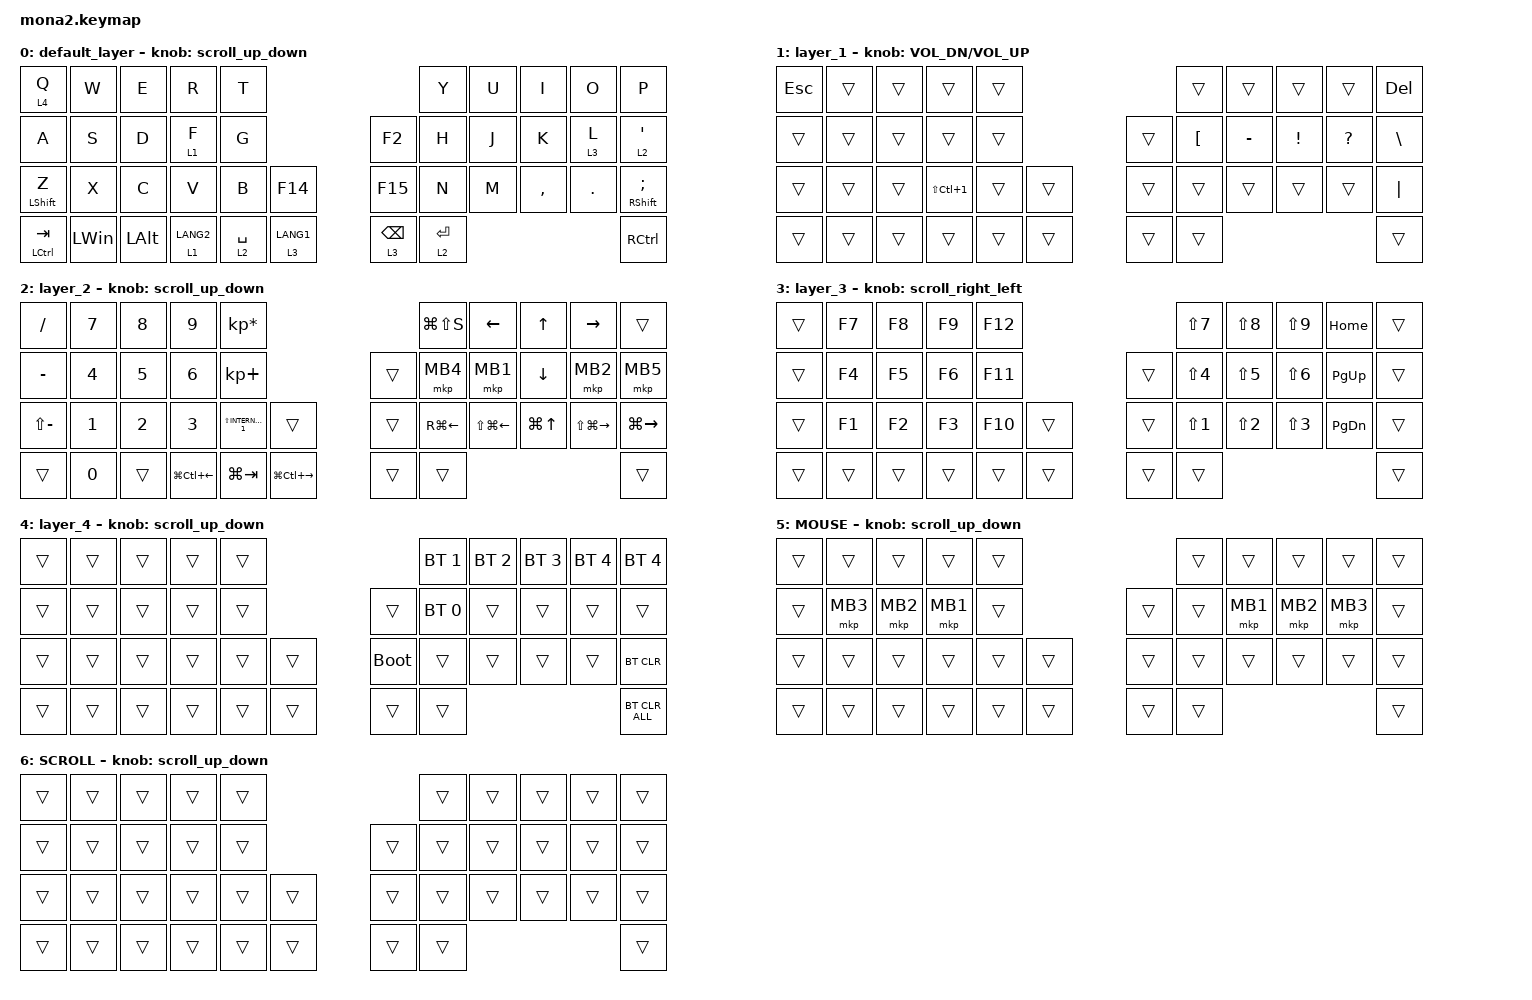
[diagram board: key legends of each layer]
#include <input/processors.dtsi>
#include <dt-bindings/zmk/input_transform.h>
#include <zephyr/dt-bindings/input/input-event-codes.h>
#include <behaviors.dtsi>
#include <dt-bindings/zmk/bt.h>
#include <dt-bindings/zmk/keys.h>
#include <dt-bindings/zmk/pointing.h>

#define ZMK_POINTING_DEFAULT_SCRL_VAL 100
#define MOUSE 5
#define SCROLL 6

&mt {
    flavor = "balanced";
    quick-tap-ms = <0>;
};

&lt {
    quick-tap-ms = <300>;
    flavor = "balanced";
};

/ {
    combos {
        compatible = "zmk,combos";

        layer4_ESC {
            bindings = <&lt 4 ESC>;
            key-positions = <39 38>;
        };

        tab {
            bindings = <&kp TAB>;
            key-positions = <11 12>;
        };

        layer3 {
            bindings = <&lt 3 LC(F2)>;
            key-positions = <31 30>;
        };
    };

    macros {
        to_layer_0: to_layer_0 {
            compatible = "zmk,behavior-macro-one-param";
            #binding-cells = <1>;
            bindings = <&to 0 &macro_param_1to1 &kp MACRO_PLACEHOLDER>;
            label = "TO_LAYER_0";
        };
    };

    behaviors {
        lt_to_layer_0: lt_to_layer_0 {
            compatible = "zmk,behavior-hold-tap";
            label = "LAYER_TAP_TO_0";
            bindings = <&mo>, <&to_layer_0>;

            #binding-cells = <2>;
            tapping-term-ms = <200>;
        };

        scroll_up_down: mouse_wheel_up_down {
            compatible = "zmk,behavior-sensor-rotate";
            #sensor-binding-cells = <0>;
            bindings = <&msc SCRL_DOWN>, <&msc SCRL_UP>;

            tap-ms = <20>;
        };

        scroll_right_left: mouse_wheel_right_left {
            compatible = "zmk,behavior-sensor-rotate";
            #sensor-binding-cells = <0>;
            bindings = <&msc SCRL_RIGHT>, <&msc SCRL_LEFT>;

            // 左右のスクロール方向を逆にしました_sakamoto

            tap-ms = <20>;
        };
    };

    keymap {
        compatible = "zmk,keymap";

        default_layer {
            bindings = <
&lt 4 Q           &kp W         &kp E     &kp R        &kp T                                                              &kp Y        &kp U  &kp I      &kp O    &kp P
&kp A             &kp S         &kp D     &lt 1 F      &kp G                                  &kp F2                      &kp H        &kp J  &kp K      &lt 3 L  &lt 2 SINGLE_QUOTE
&mt LEFT_SHIFT Z  &kp X         &kp C     &kp V        &kp B        &kp F14                   &kp F15                     &kp N        &kp M  &kp COMMA  &kp DOT  &mt RSHIFT SEMICOLON
&mt LCTRL TAB     &kp LEFT_WIN  &kp LALT  &lt 1 LANG2  &lt 2 SPACE  &lt_to_layer_0 3 LANG1    &lt_to_layer_0 3 BACKSPACE  &lt 2 ENTER                             &kp RCTRL
            >;

            sensor-bindings = <&scroll_up_down>;
        };

        layer_1 {
            bindings = <
&kp ESCAPE  &trans  &trans  &trans                &trans                    &trans            &trans     &trans           &trans        &kp DEL
&trans      &trans  &trans  &trans                &trans            &trans  &kp LEFT_BRACKET  &kp MINUS  &kp EXCLAMATION  &kp QUESTION  &kp BACKSLASH
&trans      &trans  &trans  &kp LS(LC(NUMBER_1))  &trans  &trans    &trans  &trans            &trans     &trans           &trans        &kp PIPE
&trans      &trans  &trans  &trans                &trans  &trans    &trans  &trans                                                      &trans
            >;

            sensor-bindings = <&inc_dec_kp C_VOL_DN C_VOL_UP>;
        };

        layer_2 {
            bindings = <
&kp SLASH      &kp NUMBER_7  &kp NUMBER_8  &kp NUMBER_9            &kp KP_ASTERISK                                             &kp LG(LS(S))       &kp LEFT_ARROW          &kp UP_ARROW      &kp RIGHT_ARROW          &trans
&kp MINUS      &kp NUMBER_4  &kp NUMBER_5  &kp NUMBER_6            &kp KP_PLUS                                         &trans  &mkp MB4            &mkp MB1                &kp DOWN_ARROW    &mkp MB2                 &mkp MB5
&kp LS(MINUS)  &kp NUMBER_1  &kp NUMBER_2  &kp NUMBER_3            &kp LS(INTERNATIONAL_1)  &trans                     &trans  &kp RG(LEFT_ARROW)  &kp LS(LG(LEFT_ARROW))  &kp LG(UP_ARROW)  &kp LS(LG(RIGHT_ARROW))  &kp LG(RIGHT_ARROW)
&trans         &kp NUMBER_0  &trans        &kp LG(LC(LEFT_ARROW))  &kp LG(TAB)              &kp LG(LC(RIGHT_ARROW))    &trans  &trans                                                                                 &trans
            >;

            sensor-bindings = <&scroll_up_down>;
        };

        layer_3 {
            bindings = <
&trans  &kp F7  &kp F8  &kp F9  &kp F12                    &kp LS(NUMBER_7)  &kp LS(NUMBER_8)  &kp LS(NUMBER_9)  &kp HOME       &trans
&trans  &kp F4  &kp F5  &kp F6  &kp F11            &trans  &kp LS(NUMBER_4)  &kp LS(NUMBER_5)  &kp LS(NUMBER_6)  &kp PAGE_UP    &trans
&trans  &kp F1  &kp F2  &kp F3  &kp F10  &trans    &trans  &kp LS(NUMBER_1)  &kp LS(NUMBER_2)  &kp LS(NUMBER_3)  &kp PAGE_DOWN  &trans
&trans  &trans  &trans  &trans  &trans   &trans    &trans  &trans                                                               &trans
            >;

            sensor-bindings = <&scroll_right_left>;
        };

        layer_4 {
            bindings = <
&trans  &trans  &trans  &trans  &trans                         &bt BT_SEL 1  &bt BT_SEL 2  &bt BT_SEL 3  &bt BT_SEL 4  &bt BT_SEL 4
&trans  &trans  &trans  &trans  &trans            &trans       &bt BT_SEL 0  &trans        &trans        &trans        &trans
&trans  &trans  &trans  &trans  &trans  &trans    &bootloader  &trans        &trans        &trans        &trans        &bt BT_CLR
&trans  &trans  &trans  &trans  &trans  &trans    &trans       &trans                                                  &bt BT_CLR_ALL
            >;

            sensor-bindings = <&scroll_up_down>;
        };

        MOUSE {
            bindings = <
&trans  &trans    &trans    &trans    &trans                    &trans  &trans    &trans    &trans    &trans
&trans  &mkp MB3  &mkp MB2  &mkp MB1  &trans            &trans  &trans  &mkp MB1  &mkp MB2  &mkp MB3  &trans
&trans  &trans    &trans    &trans    &trans  &trans    &trans  &trans  &trans    &trans    &trans    &trans
&trans  &trans    &trans    &trans    &trans  &trans    &trans  &trans                                &trans
            >;

            sensor-bindings = <&scroll_up_down>;
        };

        SCROLL {
            bindings = <
&trans  &trans  &trans  &trans  &trans                    &trans  &trans  &trans  &trans  &trans
&trans  &trans  &trans  &trans  &trans            &trans  &trans  &trans  &trans  &trans  &trans
&trans  &trans  &trans  &trans  &trans  &trans    &trans  &trans  &trans  &trans  &trans  &trans
&trans  &trans  &trans  &trans  &trans  &trans    &trans  &trans                          &trans
            >;

            sensor-bindings = <&scroll_up_down>;
        };
    };
};
